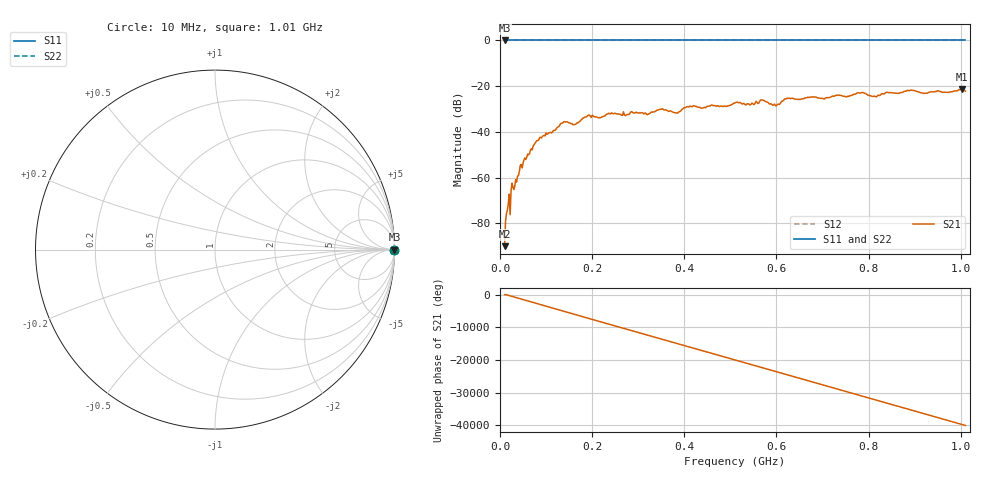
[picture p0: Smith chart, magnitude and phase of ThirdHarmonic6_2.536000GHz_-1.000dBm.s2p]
! 8/17/2025 5:05:32 AM
! C:\ANRITSUVNA\TEMP\TEMP.S2P
! CHANNEL.1
! TR.MEASUREMENT
! RAW.DATA
! RF.CORRECTION.OFF
! AVERAGING.OFF
! IF.BANDWIDTH: 5KHZ
! SWEEPTYPE:  FREQ.SWEEP(Linear)
! Reference Plane Port Info
! PORT:  PORT1  PORT2
! DISTANCE:  0  m  0  m
! TIME:  0  s  0  s
! PHASE.OFFSET:  0  deg.  0  deg.
! LOSS:  0  dB  0  dB
! REF.LOSS:  0  dB  0  dB
! REF.FREQ:  0  Hz  0  Hz
! Power Info
! POWER:  -20  dBm  -20  dBm
! EFF.POWER:  -20  dBm  -20  dBm
! SOURCE.ATTEN:  0  dB  0  dB
! TEST.ATTEN:  0  dB  0  dB
# GHZ S RI R 50.0
! FREQ.GHZ  S11RE  S11IM  S21RE  S21IM  S12RE  S12IM  S22RE  S22IM
!; PortSelection: Port_12
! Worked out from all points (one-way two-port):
!   501 points, 10 MHz to 1.01 GHz, reference 50 ohm
!   highest |S21| = -21.27 dB at 1.002 GHz (marker M1); lowest = -90.0 dB at 10 MHz (marker M2)
!   lowest |S11| = 0.0 dB at 10 MHz (marker M3)
!   |S11| at or under -10 dB: nowhere
!   |S22| runs from 0.0 to 0.0 dB; largest |S21 - S12| = 1.1
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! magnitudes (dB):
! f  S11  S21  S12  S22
! 10 MHz  0.0  -90.0  0.0  0.0
! 28 MHz  0.0  -64.1  0.0  0.0
! 42 MHz  0.0  -57.3  0.0  0.0
! 76 MHz  0.0  -45.0  0.0  0.0
! 136 MHz  0.0  -36.1  0.0  0.0
! 162 MHz  0.0  -36.8  0.0  0.0
! 178 MHz  0.0  -34.4  0.0  0.0
! 240 MHz  0.0  -32.1  0.0  0.0
! 322 MHz  0.0  -32.2  0.0  0.0
! 344 MHz  0.0  -30.3  0.0  0.0
! 382 MHz  0.0  -31.6  0.0  0.0
! 410 MHz  0.0  -29.1  0.0  0.0
! 510 MHz  0.0  -27.3  0.0  0.0
! 570 MHz  0.0  -26.1  0.0  0.0
! 596 MHz  0.0  -27.9  0.0  0.0
! 622 MHz  0.0  -25.3  0.0  0.0
! 678 MHz  0.0  -24.8  0.0  0.0
! 786 MHz  0.0  -22.7  0.0  0.0
! 814 MHz  0.0  -24.4  0.0  0.0
! 844 MHz  0.0  -22.9  0.0  0.0
! 1.002 GHz  0.0  -21.3  0.0  0.0
! 1.01 GHz  0.0  -22.2  0.0  0.0
